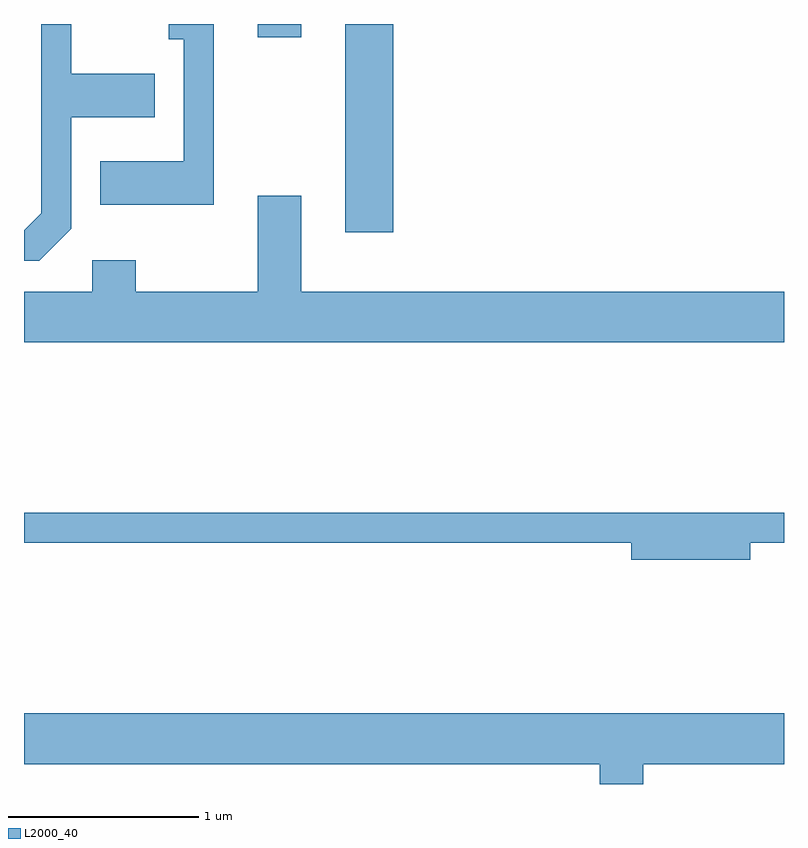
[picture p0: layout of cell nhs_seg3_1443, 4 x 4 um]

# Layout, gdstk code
import gdstk
lib = gdstk.Library(unit=1e-6, precision=1e-09)
def R(c, l, rs):  # rectangles x0, y0, x1, y1
    for r in rs: c.add(gdstk.rectangle(r[:2], r[2:], *l))
def P(c, l, *ps):  # polygons
    for p in ps: c.add(gdstk.Polygon(p, *l))
L2000_40 = (2000, 40)

nhs_seg3_1443 = lib.new_cell('nhs_seg3_1443')
R(nhs_seg3_1443, L2000_40, [(229.301,1148.796,229.554,1149.892), (228.841,1149.821,229.069,1149.892)])
P(nhs_seg3_1443, L2000_40, [(227.859,1148.814),(227.859,1149.401),(228.299,1149.401),(228.299,1149.629),(227.859,1149.629),(227.859,1149.892),(227.701,1149.892),(227.701,1148.897),(227.611,1148.806),(227.611,1148.646),(227.692,1148.646)],
  [(228.609,1149.892),(228.373,1149.892),(228.373,1149.811),(228.451,1149.811),(228.451,1149.169),(228.011,1149.169),(228.011,1148.941),(228.609,1148.941)],
  [(231.611,1148.484),(229.069,1148.484),(229.069,1148.989),(228.841,1148.989),(228.841,1148.484),(228.199,1148.484),(228.199,1148.649),(227.971,1148.649),(227.971,1148.484),(227.611,1148.484),(227.611,1148.216),(231.611,1148.216)],
  [(231.434,1147.161),(231.611,1147.161),(231.611,1147.319),(227.611,1147.319),(227.611,1147.161),(230.806,1147.161),(230.806,1147.071),(231.434,1147.071)],
  [(230.869,1145.996),(231.611,1145.996),(231.611,1146.264),(227.611,1146.264),(227.611,1145.996),(230.641,1145.996),(230.641,1145.892),(230.869,1145.892)])

lib.write_gds('nhs_seg3_1443.gds')
